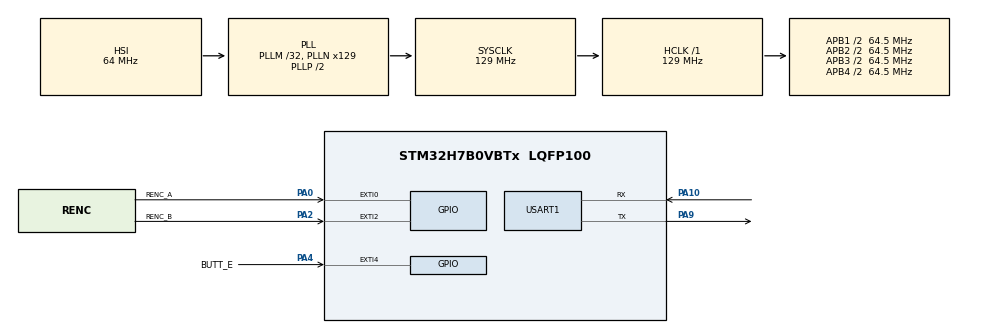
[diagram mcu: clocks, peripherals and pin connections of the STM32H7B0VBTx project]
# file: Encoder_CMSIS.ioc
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Mcu.Family=STM32H7
Mcu.Name=STM32H7B0VBTx
Mcu.Package=LQFP100
NVIC.EXTI0_IRQn=true\:0\:0\:false\:false\:true\:true\:true\:true
NVIC.EXTI2_IRQn=true\:0\:0\:false\:false\:true\:true\:true\:true
NVIC.EXTI4_IRQn=true\:0\:0\:false\:false\:true\:true\:true\:true
NVIC.PriorityGroup=NVIC_PRIORITYGROUP_4
NVIC.USART1_IRQn=true\:0\:0\:false\:false\:true\:true\:true\:true
PA0.GPIO_Label=RENC_A
PA0.GPIO_ModeDefaultEXTI=GPIO_MODE_IT_RISING_FALLING
PA0.GPIO_PuPd=GPIO_PULLUP
PA0.Signal=GPXTI0
PA10.Mode=Asynchronous
PA10.Signal=USART1_RX
PA2.GPIO_Label=RENC_B
PA2.GPIO_ModeDefaultEXTI=GPIO_MODE_IT_RISING_FALLING
PA2.GPIO_PuPd=GPIO_PULLUP
PA2.Signal=GPXTI2
PA4.GPIO_Label=BUTT_E
PA4.GPIO_ModeDefaultEXTI=GPIO_MODE_IT_FALLING
PA4.GPIO_PuPd=GPIO_PULLUP
PA4.Signal=GPXTI4
PA9.Mode=Asynchronous
PA9.Signal=USART1_TX
PH0-OSC_IN.Mode=HSE-External-Oscillator
PH0-OSC_IN.Signal=RCC_OSC_IN
PH1-OSC_OUT.Mode=HSE-External-Oscillator
PH1-OSC_OUT.Signal=RCC_OSC_OUT
ProjectManager.HeapSize=0x200
ProjectManager.StackSize=0x400
ProjectManager.TargetToolchain=STM32CubeIDE
RCC.ADCFreq_Value=129000000
RCC.APB1Freq_Value=64500000
RCC.APB2Freq_Value=64500000
RCC.APB3Freq_Value=64500000
RCC.APB4Freq_Value=64500000
RCC.CDPPRE=RCC_APB3_DIV2
RCC.CDPPRE1=RCC_APB1_DIV2
RCC.CDPPRE2=RCC_APB2_DIV2
RCC.CortexFreq_Value=129000000
RCC.HCLKFreq_Value=129000000
RCC.SRDPPRE=RCC_APB4_DIV2
RCC.SYSCLKFreq_VALUE=129000000
RCC.SYSCLKSource=RCC_SYSCLKSOURCE_PLLCLK
RCC.USBFreq_Value=129000000
USART1.VirtualMode-Asynchronous=VM_ASYNC
board=custom

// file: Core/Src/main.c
/* USER CODE BEGIN Header */
/**
  ******************************************************************************
  * @file           : main.c
  * @brief          : Main program body
  ******************************************************************************
  * @attention
  *
  * Copyright (c) 2022 STMicroelectronics.
  * All rights reserved.
  *
  * This software is licensed under terms that can be found in the LICENSE file
  * in the root directory of this software component.
  * If no LICENSE file comes with this software, it is provided AS-IS.
  *
  ******************************************************************************
  */
/* USER CODE END Header */
#include "main.h"
#include <string.h>
#include <stdio.h>
#include <stdbool.h>

UART_HandleTypeDef huart1;

void SystemClock_Config(void);
static void MX_GPIO_Init(void);
static void MX_USART1_UART_Init(void);

/* USER CODE BEGIN 0 */
	bool send_usart = 0;
	int16_t count = 95;
	char buf[25] = {0,};
/* USER CODE END 0 */

int main(void)
{

  /* MCU Configuration--------------------------------------------------------*/

  /* Reset of all peripherals, Initializes the Flash interface and the Systick. */
  HAL_Init();

  /* Configure the system clock */
  SystemClock_Config();

  /* Initialize all configured peripherals */
  MX_GPIO_Init();
  MX_USART1_UART_Init();
  /* USER CODE BEGIN 2 */
  	  HAL_UART_Transmit_IT(&huart1, (uint8_t*)"Hello World\r\n", 13);
  /* USER CODE END 2 */

  /* Infinite loop */
  /* USER CODE BEGIN WHILE */
  while (1)
  {
	  if (send_usart)
	  {
		  count>=255? count=255:count;
		  count<=95? count=95:count;
		  sprintf(buf, "Testing : %d : %X \r\n", count,count);
		  HAL_UART_Transmit_IT(&huart1,(uint8_t*)buf, strlen(buf));

		  send_usart=0;
	  }
    /* USER CODE END WHILE */

  }
}

void SystemClock_Config(void)
{
  RCC_OscInitTypeDef RCC_OscInitStruct = {0};
  RCC_ClkInitTypeDef RCC_ClkInitStruct = {0};

  /*AXI clock gating */
  RCC->CKGAENR = 0xFFFFFFFF;

  /** Supply configuration update enable
  */
  HAL_PWREx_ConfigSupply(PWR_LDO_SUPPLY);

  /** Configure the main internal regulator output voltage
  */
  __HAL_PWR_VOLTAGESCALING_CONFIG(PWR_REGULATOR_VOLTAGE_SCALE2);

  while(!__HAL_PWR_GET_FLAG(PWR_FLAG_VOSRDY)) {}

  /** Initializes the RCC Oscillators according to the specified parameters
  * in the RCC_OscInitTypeDef structure.
  */
  RCC_OscInitStruct.OscillatorType = RCC_OSCILLATORTYPE_HSI;
  RCC_OscInitStruct.HSIState = RCC_HSI_DIV1;
  RCC_OscInitStruct.HSICalibrationValue = RCC_HSICALIBRATION_DEFAULT;
  RCC_OscInitStruct.PLL.PLLState = RCC_PLL_ON;
  RCC_OscInitStruct.PLL.PLLSource = RCC_PLLSOURCE_HSI;
  RCC_OscInitStruct.PLL.PLLM = 32;
  RCC_OscInitStruct.PLL.PLLN = 129;
  RCC_OscInitStruct.PLL.PLLP = 2;
  RCC_OscInitStruct.PLL.PLLQ = 2;
  RCC_OscInitStruct.PLL.PLLR = 2;
  RCC_OscInitStruct.PLL.PLLRGE = RCC_PLL1VCIRANGE_1;
  RCC_OscInitStruct.PLL.PLLVCOSEL = RCC_PLL1VCOWIDE;
  RCC_OscInitStruct.PLL.PLLFRACN = 0;
  if (HAL_RCC_OscConfig(&RCC_OscInitStruct) != HAL_OK)
  {
    Error_Handler();
  }

  /** Initializes the CPU, AHB and APB buses clocks
  */
  RCC_ClkInitStruct.ClockType = RCC_CLOCKTYPE_HCLK|RCC_CLOCKTYPE_SYSCLK
                              |RCC_CLOCKTYPE_PCLK1|RCC_CLOCKTYPE_PCLK2
                              |RCC_CLOCKTYPE_D3PCLK1|RCC_CLOCKTYPE_D1PCLK1;
  RCC_ClkInitStruct.SYSCLKSource = RCC_SYSCLKSOURCE_PLLCLK;
  RCC_ClkInitStruct.SYSCLKDivider = RCC_SYSCLK_DIV1;
  RCC_ClkInitStruct.AHBCLKDivider = RCC_HCLK_DIV1;
  RCC_ClkInitStruct.APB3CLKDivider = RCC_APB3_DIV2;
  RCC_ClkInitStruct.APB1CLKDivider = RCC_APB1_DIV2;
  RCC_ClkInitStruct.APB2CLKDivider = RCC_APB2_DIV2;
  RCC_ClkInitStruct.APB4CLKDivider = RCC_APB4_DIV2;

  if (HAL_RCC_ClockConfig(&RCC_ClkInitStruct, FLASH_LATENCY_3) != HAL_OK)
  {
    Error_Handler();
  }
}

static void MX_USART1_UART_Init(void)
{

  huart1.Instance = USART1;
  huart1.Init.BaudRate = 115200;
  huart1.Init.WordLength = UART_WORDLENGTH_8B;
  huart1.Init.StopBits = UART_STOPBITS_1;
  huart1.Init.Parity = UART_PARITY_NONE;
  huart1.Init.Mode = UART_MODE_TX_RX;
  huart1.Init.HwFlowCtl = UART_HWCONTROL_NONE;
  huart1.Init.OverSampling = UART_OVERSAMPLING_16;
  huart1.Init.OneBitSampling = UART_ONE_BIT_SAMPLE_DISABLE;
  huart1.Init.ClockPrescaler = UART_PRESCALER_DIV1;
  huart1.AdvancedInit.AdvFeatureInit = UART_ADVFEATURE_NO_INIT;
  if (HAL_UART_Init(&huart1) != HAL_OK)
  {
    Error_Handler();
  }
  if (HAL_UARTEx_SetTxFifoThreshold(&huart1, UART_TXFIFO_THRESHOLD_1_8) != HAL_OK)
  {
    Error_Handler();
  }
  if (HAL_UARTEx_SetRxFifoThreshold(&huart1, UART_RXFIFO_THRESHOLD_1_8) != HAL_OK)
  {
    Error_Handler();
  }
  if (HAL_UARTEx_DisableFifoMode(&huart1) != HAL_OK)
  {
    Error_Handler();
  }

}

static void MX_GPIO_Init(void)
{
  GPIO_InitTypeDef GPIO_InitStruct = {0};

  /* GPIO Ports Clock Enable */
  __HAL_RCC_GPIOH_CLK_ENABLE();
  __HAL_RCC_GPIOA_CLK_ENABLE();

  /*Configure GPIO pins : RENC_A_Pin RENC_B_Pin */
  GPIO_InitStruct.Pin = RENC_A_Pin|RENC_B_Pin;
  GPIO_InitStruct.Mode = GPIO_MODE_IT_RISING_FALLING;
  GPIO_InitStruct.Pull = GPIO_PULLUP;
  HAL_GPIO_Init(GPIOA, &GPIO_InitStruct);

  /*Configure GPIO pin : BUTT_E_Pin */
  GPIO_InitStruct.Pin = BUTT_E_Pin;
  GPIO_InitStruct.Mode = GPIO_MODE_IT_FALLING;
  GPIO_InitStruct.Pull = GPIO_PULLUP;
  HAL_GPIO_Init(BUTT_E_GPIO_Port, &GPIO_InitStruct);

  /* EXTI interrupt init*/
  HAL_NVIC_SetPriority(EXTI0_IRQn, 0, 0);
  HAL_NVIC_EnableIRQ(EXTI0_IRQn);

  HAL_NVIC_SetPriority(EXTI2_IRQn, 0, 0);
  HAL_NVIC_EnableIRQ(EXTI2_IRQn);

  HAL_NVIC_SetPriority(EXTI4_IRQn, 0, 0);
  HAL_NVIC_EnableIRQ(EXTI4_IRQn);

}

/* USER CODE BEGIN 4 */
void HAL_GPIO_EXTI_Callback(uint16_t GPIO_Pin)
{
	static GPIO_PinState A,B,prev_A=GPIO_PIN_SET,prev_B=GPIO_PIN_SET;

	if(GPIO_Pin==RENC_A_Pin)
	{
		B=HAL_GPIO_ReadPin(RENC_B_GPIO_Port,RENC_B_Pin);
		// CCW decoder
		if(B!=prev_B)
		{
			if(B==GPIO_PIN_SET)
			{
				if(A==GPIO_PIN_RESET)
				{
					count=count-8;
					send_usart=1;
				}
			}
			prev_B=B;
		}

	}

	if(GPIO_Pin==RENC_B_Pin)
	{
		A=HAL_GPIO_ReadPin(RENC_A_GPIO_Port,RENC_A_Pin);
		// CW decoder
		if(A!=prev_A)
		{
			if(A==GPIO_PIN_SET)
			{
				if(B==GPIO_PIN_RESET)
				{
					count=count+8;
					send_usart=1;
				}
			}
			prev_A=A;
		}

	}
}
/* USER CODE END 4 */

void Error_Handler(void)
{
  __disable_irq();
  while (1)
  {
  }
}
